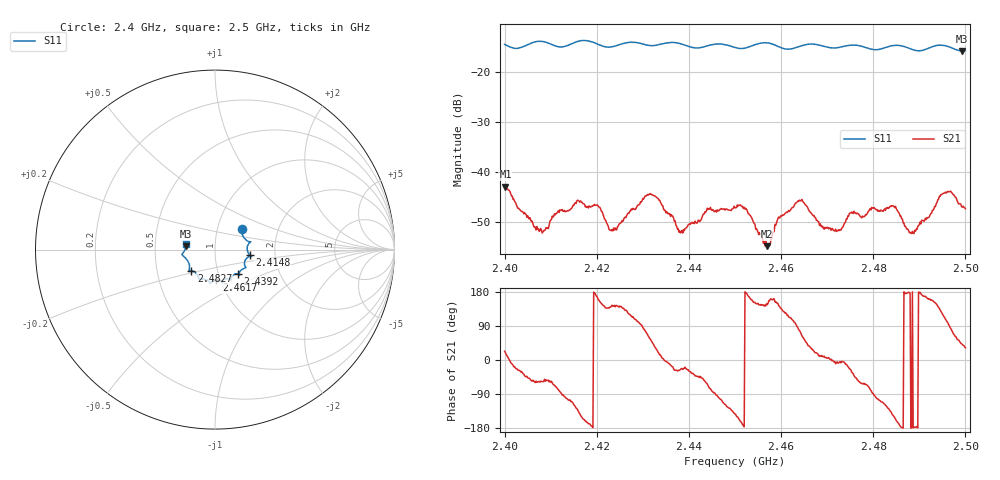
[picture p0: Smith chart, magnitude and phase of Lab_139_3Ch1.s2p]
# Hz S RI R 50
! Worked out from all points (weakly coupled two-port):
!   601 points, 2.4 GHz to 2.5 GHz, reference 50 ohm
!   highest |S21| = -43.02 dB at 2.4002 GHz (marker M1); lowest = -54.9 dB at 2.457 GHz (marker M2)
!   lowest |S11| = -15.7 dB at 2.4993 GHz (marker M3), VSWR 1.39, Z = 36 + j1.45 ohm
!   |S11| at or under -10 dB: start of sweep to end of sweep
!   S12 and S22 are empty: the file has one direction only
!   S11 on the Smith chart (normalised r, x): 2.4 GHz: 1.31, +0.32; 2.4148 GHz: 1.47, -0.09; 2.4392 GHz: 1.24, -0.35; 2.4617 GHz: 0.96, -0.34; 2.4827 GHz: 0.75, -0.18; 2.5 GHz: 0.72, +0.05
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2.4e9  0.1508 0.1157  0.00644 0.00275  0 0  0 0
2.400167e9  0.1503 0.1134  0.00664 0.0024  0 0  0 0
2.408e9  0.1993 0.0437  0.00141 -0.00213  0 0  0 0
2.414833e9  0.1928 -0.0308  -0.00184 -0.00421  0 0  0 0
2.416667e9  0.2037 -0.0393  -0.00425 -0.00252  0 0  0 0
2.423333e9  0.1642 -0.0732  -0.00215 0.00153  0 0  0 0
2.431e9  0.1501 -0.1108  0.00222 0.00548  0 0  0 0
2.433333e9  0.1359 -0.1302  0.00505 0.00184  0 0  0 0
2.439167e9  0.128 -0.1352  0.00255 -0.000863  0 0  0 0
2.45e9  0.0716 -0.1617  -0.00344 -0.00263  0 0  0 0
2.457e9  0.0444 -0.1917  -0.00149 0.001  0 0  0 0
2.461667e9  0.008 -0.1698  -0.00162 0.00376  0 0  0 0
2.464167e9  -0.021 -0.1812  0.00138 0.00493  0 0  0 0
2.466667e9  -0.0268 -0.1896  0.00333 0.00179  0 0  0 0
2.4725e9  -0.0654 -0.1643  0.0026 -0.000357  0 0  0 0
2.475333e9  -0.0866 -0.1655  0.00333 -0.00213  0 0  0 0
2.482667e9  -0.1316 -0.1178  -0.00201 -0.00358  0 0  0 0
2.483333e9  -0.1374 -0.1174  -0.00265 -0.00338  0 0  0 0
2.488333e9  -0.1417 -0.0932  -0.0024 -2.32e-05  0 0  0 0
2.495167e9  -0.184 -0.0261  -0.00283 0.00538  0 0  0 0
2.499333e9  -0.1622 0.0196  0.00333 0.0029  0 0  0 0
2.5e9  -0.1617 0.0316  0.0036 0.00228  0 0  0 0
